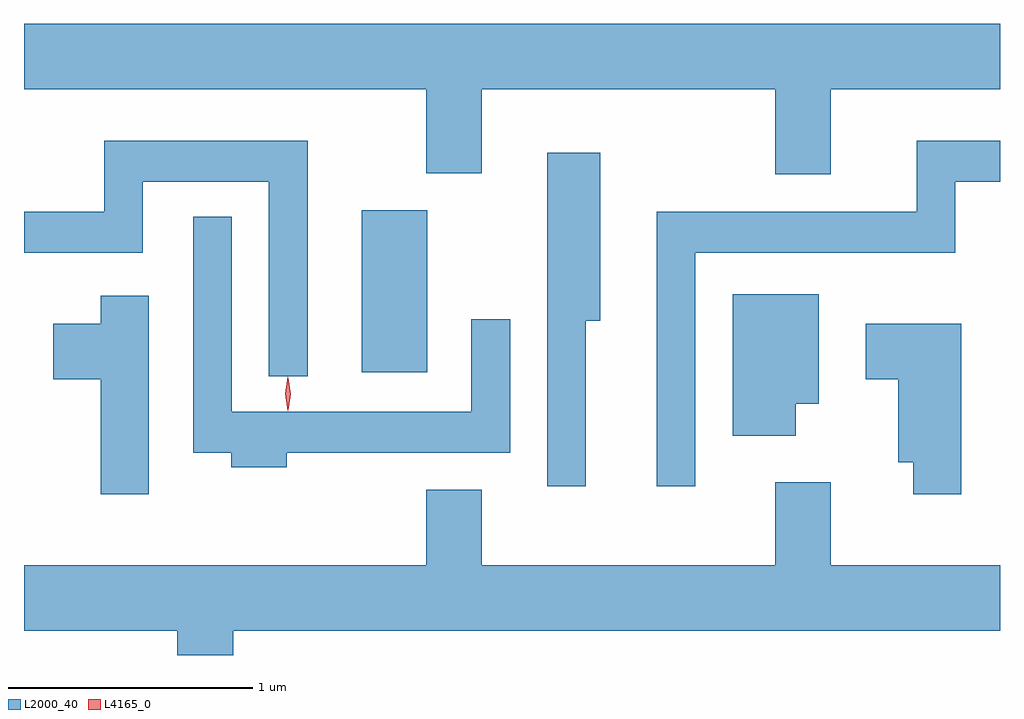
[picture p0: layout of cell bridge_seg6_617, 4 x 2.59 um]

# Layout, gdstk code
import gdstk
lib = gdstk.Library(unit=1e-6, precision=1e-09)
def R(c, l, rs):  # rectangles x0, y0, x1, y1
    for r in rs: c.add(gdstk.rectangle(r[:2], r[2:], *l))
def P(c, l, *ps):  # polygons
    for p in ps: c.add(gdstk.Polygon(p, *l))
L2000_40 = (2000, 40)
L4165_0 = (4165, 0)

bridge_seg6_617 = lib.new_cell('bridge_seg6_617')
R(bridge_seg6_617, L2000_40, [(308.126,1650.996,308.394,1651.659)])
P(bridge_seg6_617, L2000_40, [(310.049,1652.156),(310.742,1652.156),(310.742,1652.424),(306.742,1652.424),(306.742,1652.156),(308.391,1652.156),(308.391,1651.811),(308.619,1651.811),(308.619,1652.156),(309.821,1652.156),(309.821,1651.806),(310.049,1651.806)],
  [(307.904,1651.944),(307.071,1651.944),(307.071,1651.654),(306.742,1651.654),(306.742,1651.486),(307.229,1651.486),(307.229,1651.776),(307.746,1651.776),(307.746,1650.978),(307.904,1650.978)],
  [(309.494,1651.486),(310.559,1651.486),(310.559,1651.776),(310.742,1651.776),(310.742,1651.944),(310.401,1651.944),(310.401,1651.654),(309.336,1651.654),(309.336,1650.528),(309.494,1650.528)],
  [(309.044,1651.206),(309.104,1651.206),(309.104,1651.894),(308.886,1651.894),(308.886,1650.528),(309.044,1650.528)],
  [(307.819,1650.666),(308.734,1650.666),(308.734,1651.213),(308.576,1651.213),(308.576,1650.834),(307.594,1650.834),(307.594,1651.633),(307.436,1651.633),(307.436,1650.666),(307.591,1650.666),(307.591,1650.606),(307.819,1650.606)],
  [(309.904,1650.866),(309.999,1650.866),(309.999,1651.314),(309.646,1651.314),(309.646,1650.736),(309.904,1650.736)],
  [(307.254,1651.309),(307.056,1651.309),(307.056,1651.194),(306.861,1651.194),(306.861,1650.966),(307.056,1650.966),(307.056,1650.496),(307.254,1650.496)],
  [(310.584,1651.194),(310.191,1651.194),(310.191,1650.966),(310.326,1650.966),(310.326,1650.626),(310.386,1650.626),(310.386,1650.496),(310.584,1650.496)],
  [(307.599,1649.936),(310.742,1649.936),(310.742,1650.204),(310.049,1650.204),(310.049,1650.544),(309.821,1650.544),(309.821,1650.204),(308.619,1650.204),(308.619,1650.514),(308.391,1650.514),(308.391,1650.204),(306.742,1650.204),(306.742,1649.936),(307.371,1649.936),(307.371,1649.835),(307.599,1649.835)])
P(bridge_seg6_617, L4165_0, [(307.823,1650.837),(307.822,1650.838),(307.813,1650.907),(307.822,1650.976),(307.823,1650.976),(307.823,1650.976),(307.833,1650.907),(307.823,1650.838)],
  [(307.826,1650.839),(307.826,1650.84),(307.816,1650.906),(307.825,1650.972),(307.826,1650.973),(307.826,1650.972),(307.836,1650.906),(307.826,1650.84)])

lib.write_gds('bridge_seg6_617.gds')
